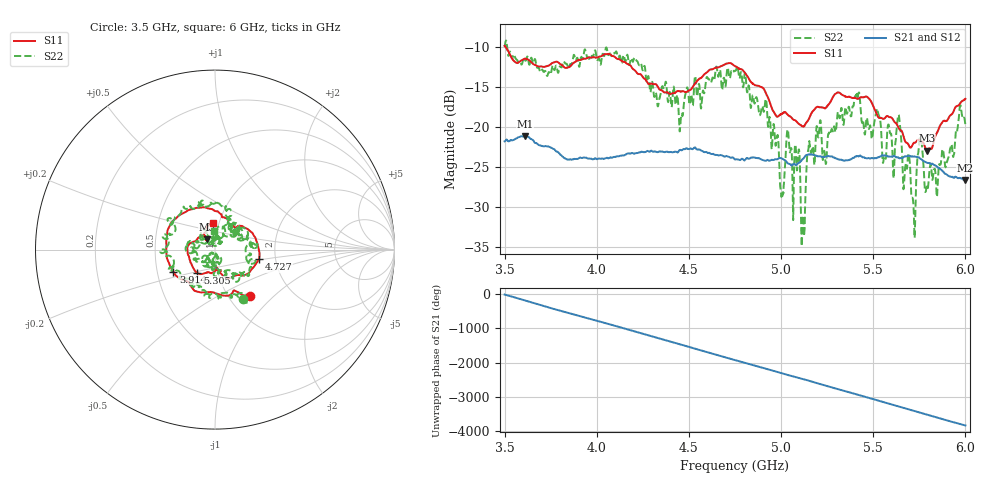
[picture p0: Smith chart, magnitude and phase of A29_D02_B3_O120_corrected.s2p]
! Created with skrf 1.9.0 (http://scikit-rf.org).
# Hz S RI R 50.0
!freq ReS11 ImS11 ReS21 ImS21 ReS12 ImS12 ReS22 ImS22
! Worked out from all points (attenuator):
!   1601 points, 3.5 GHz to 6 GHz, reference 50 ohm
!   highest |S21| = -21.15 dB at 3.611 GHz (marker M1); lowest = -26.6 dB at 6 GHz (marker M2)
!   lowest |S11| = -23.0 dB at 5.791 GHz (marker M3), VSWR 1.15, Z = 45.6 + j5.2 ohm
!   |S11| at or under -10 dB: 3.505 GHz to end of sweep
!   |S22| runs from -34.9 to -9.2 dB; largest |S21 - S12| = 0.001
!   S11 on the Smith chart (normalised r, x): 3.5 GHz: 1.25, -0.72; 3.914 GHz: 0.61, -0.16; 4.727 GHz: 1.63, -0.19; 5.305 GHz: 0.79, -0.21; 6 GHz: 0.94, +0.29
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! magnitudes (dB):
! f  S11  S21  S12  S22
! 3.5 GHz  -9.8  -21.8  -21.8  -10.0
! 3.611 GHz  -11.5  -21.2  -21.2  -11.7
! 3.914 GHz  -11.6  -23.9  -23.8  -11.3
! 3.917 GHz  -11.6  -23.9  -23.9  -11.2
! 4.334 GHz  -15.1  -23.1  -23.1  -17.2
! 4.727 GHz  -12.0  -23.9  -23.8  -13.4
! 4.75 GHz  -12.4  -24.1  -24.0  -13.0
! 4.912 GHz  -15.5  -24.2  -24.2  -17.1
! 5.005 GHz  -18.3  -24.0  -23.9  -28.4
! 5.036 GHz  -18.5  -24.6  -24.5  -20.3
! 5.088 GHz  -19.4  -24.7  -24.6  -25.4
! 5.119 GHz  -20.0  -24.0  -23.9  -31.1
! 5.167 GHz  -18.2  -23.5  -23.4  -22.8
! 5.305 GHz  -15.7  -24.0  -24.0  -18.7
! 5.414 GHz  -16.5  -23.7  -23.7  -16.1
! 5.559 GHz  -19.0  -23.6  -23.6  -23.8
! 5.584 GHz  -18.7  -23.7  -23.7  -19.7
! 5.641 GHz  -20.2  -23.9  -23.9  -18.8
! 5.717 GHz  -22.1  -23.7  -23.6  -29.5
! 5.753 GHz  -21.7  -23.9  -23.9  -21.5
! 5.791 GHz  -23.0  -24.5  -24.4  -27.5
! 6 GHz  -16.5  -26.6  -26.6  -19.7
